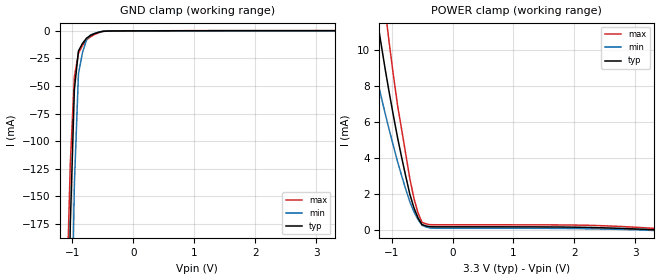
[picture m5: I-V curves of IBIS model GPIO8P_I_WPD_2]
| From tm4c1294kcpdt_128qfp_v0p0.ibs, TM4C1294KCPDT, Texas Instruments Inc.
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|   Model Cell GPIO8P_I_WPD_2
[Model]   GPIO8P_I_WPD_2
Model_type   Input
Polarity   Non-Inverting
Vinl =  0.8
Vinh =  2
C_comp   5.378567p   4.597605p   6.118031p
[Model Spec]
Vinl   0.8   0.8   0.8
Vinh   2   2   2
[Temperature Range]   25   125   -40
[Voltage Range]   3.3   2.97   3.63
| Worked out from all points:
|   GND clamp passes 1 mA (typ) near -0.55 V on its own axis
|   POWER clamp passes 1 mA (typ) near -0.61 V on its own axis
| Nom Voltages:
|   VBAT=3.3, VDDC=1.2, VDD=3.3, GND=0
| Min Voltages:
|   VBAT=2.97, VDDC=1.08, VDD=2.97, GND=0
| Max Voltages:
|   VBAT=3.63, VDDC=1.32, VDD=3.63, GND=0
[POWER_clamp]
|   voltage   I(typ)   I(min)   I(max)
-3.3V     116.2mA    496.9mA    244.4mA
-1.433V   16.2mA     11.38mA    22.74mA
-1.367V   14.64mA    10.33mA    20.49mA
-1.233V   11.65mA    8.31mA     16.16mA
-1.167V   10.22mA    7.341mA    14.1mA
-1.1V     8.833mA    6.394mA    12.1mA
-1.033V   7.534mA    5.493mA    10.25mA
-900mV    5.094mA    3.77mA     6.887mA
-700mV    1.977mA    1.554mA    2.841mA
-566.7mV  664.4uA    572.2uA    945.9uA
-500mV    286.6uA    251.9uA    414.4uA
3.3V      -84.1pA    -40.96uA   78.8uA
[GND_clamp]
|   voltage   I(typ)   I(min)   I(max)
-3.3V     -16.39A    -15.37A    -17.22A
-1.1V     -384.9mA   -635.5mA   -255.1mA
-1.033V   -175.3mA   -338.1mA   -120.1mA
-966.7mV  -53.1mA    -139.3mA   -41.81mA
-900mV    -18.34mA   -38.91mA   -20.35mA
-833.3mV  -11.35mA   -19.63mA   -13.16mA
-766.7mV  -6.571mA   -7.874mA   -8.146mA
-700mV    -4.009mA   -3.63mA    -5.304mA
-500mV    -404.6uA   -428.5uA   -493.4uA
-366.7mV  -78.46uA   -69.36uA   -110.5uA
3.3V      162.1uA    87.19uA    277.3uA
